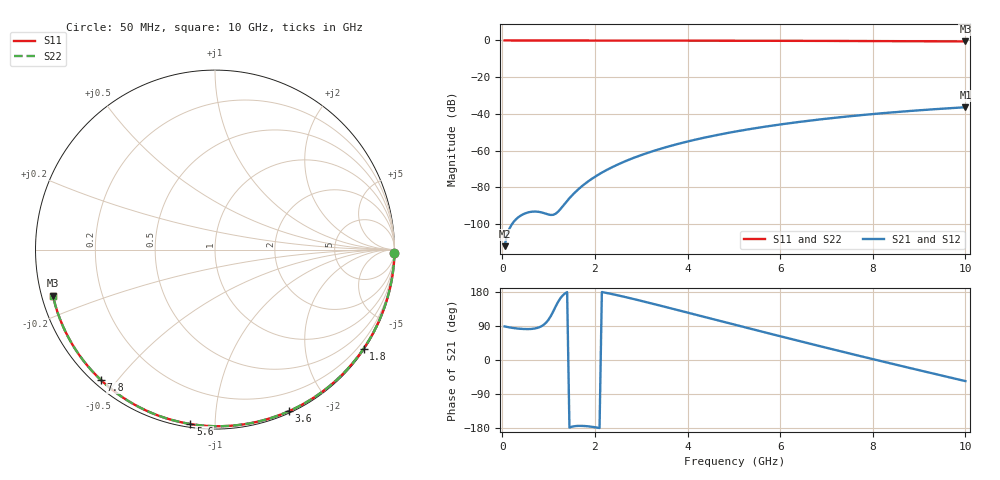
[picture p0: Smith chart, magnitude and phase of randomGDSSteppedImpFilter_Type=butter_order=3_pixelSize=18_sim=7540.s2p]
! freq	dB(S11)	phase(S11)	dB(S12)	phase(S12)
!  dB(S21)	phase(S21)	dB(S22)	phase(S22)
!S-par simulation data
#  GHz  S  DB  R 50
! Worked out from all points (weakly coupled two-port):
!   200 points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, 50 MHz to 10 GHz, reference 50 ohm
!   highest |S21| = -36.41 dB at 10 GHz (marker M1); lowest = -112.1 dB at 50 MHz (marker M2)
!   lowest |S11| = -0.5 dB at 10 GHz (marker M3), VSWR 31.78, Z = 1.6 - j6.96 ohm
!   |S11| at or under -10 dB: nowhere
!   |S22| runs from -0.5 to 0.0 dB; largest |S21 - S12| = 0
!   S11 on the Smith chart (normalised r, x): 50 MHz: open; 1.8 GHz: 0.03, -3.30; 3.6 GHz: 0.02, -1.55; 5.6 GHz: 0.02, -0.87; 7.8 GHz: 0.02, -0.45; 10 GHz: 0.03, -0.14
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0.05  -0.00 -1.0  -112.12 88.6  -112.12 88.6  -0.00 -1.0
0.45  -0.01 -8.6  -94.72 81.8  -94.72 81.8  -0.01 -8.6
0.85  -0.02 -16.1  -93.73 89.4  -93.73 89.4  -0.02 -16.1
1.65  -0.04 -30.9  -80.92 -173.8  -80.92 -173.8  -0.04 -30.9
1.7  -0.04 -31.9  -79.83 -173.8  -79.83 -173.8  -0.04 -31.9
1.75  -0.04 -32.8  -78.80 -174.0  -78.80 -174.0  -0.04 -32.8
1.8  -0.04 -33.7  -77.82 -174.4  -77.82 -174.4  -0.04 -33.7
2.1  -0.05 -39.2  -72.76 -179.5  -72.76 -179.5  -0.05 -39.1
2.3  -0.05 -42.8  -69.98 175.8  -69.98 175.8  -0.05 -42.8
2.5  -0.06 -46.3  -67.54 170.5  -67.54 170.5  -0.06 -46.3
2.9  -0.07 -53.4  -63.38 159.0  -63.38 159.0  -0.07 -53.4
3.4  -0.08 -62.1  -59.17 143.8  -59.17 143.8  -0.08 -62.1
3.6  -0.09 -65.5  -57.71 137.6  -57.71 137.6  -0.09 -65.5
4.3  -0.11 -77.2  -53.32 115.7  -53.32 115.7  -0.11 -77.2
5.05  -0.14 -89.4  -49.57 92.2  -49.57 92.2  -0.14 -89.4
5.6  -0.16 -98.1  -47.27 75.1  -47.27 75.1  -0.16 -98.1
6.15  -0.19 -106.6  -45.27 58.1  -45.27 58.1  -0.19 -106.6
6.7  -0.22 -114.9  -43.51 41.3  -43.51 41.3  -0.22 -114.9
7.8  -0.31 -131.3  -40.58 8.2  -40.58 8.2  -0.31 -131.3
8.35  -0.36 -139.4  -39.35 -8.0  -39.35 -8.0  -0.36 -139.4
9.2  -0.45 -152.0  -37.70 -32.7  -37.70 -32.7  -0.45 -152.0
10  -0.55 -164.1  -36.41 -55.7  -36.41 -55.7  -0.55 -164.1
